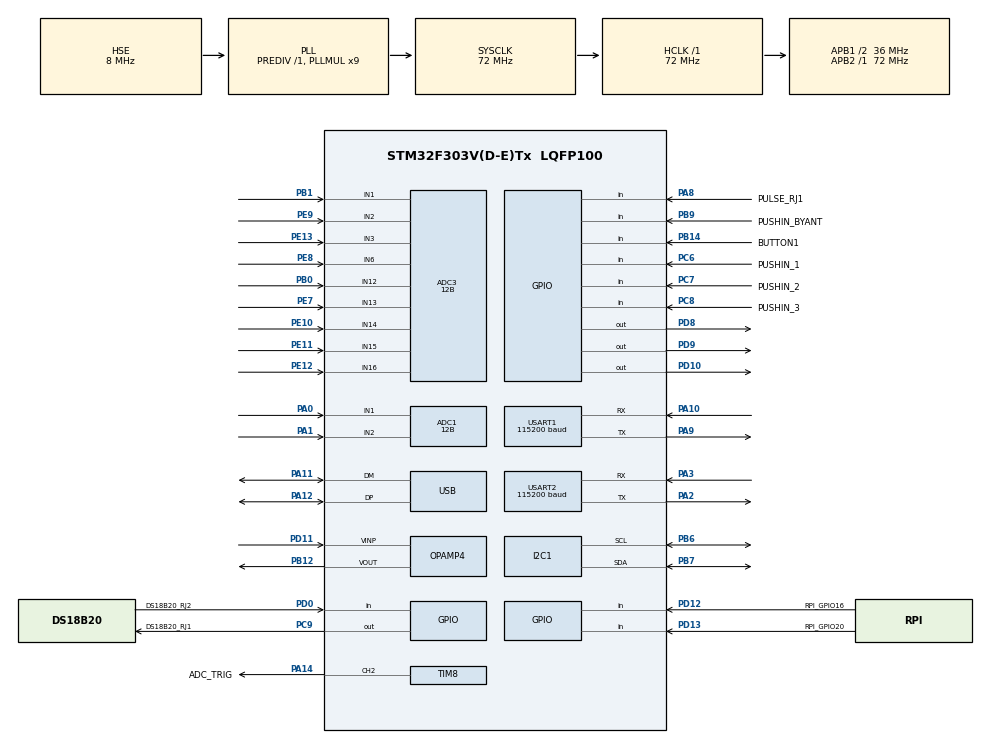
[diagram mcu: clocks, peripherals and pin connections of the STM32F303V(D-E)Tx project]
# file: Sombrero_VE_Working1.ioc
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ADC1.Channel-0\#ChannelRegularConversion=ADC_CHANNEL_1
ADC1.ClockPrescaler=ADC_CLOCK_SYNC_PCLK_DIV4
ADC1.ContinuousConvMode=ENABLE
ADC1.DMAContinuousRequests=ENABLE
ADC1.DataAlign=ADC_DATAALIGN_RIGHT
ADC1.DiscontinuousConvMode=DISABLE
ADC1.EOCSelection=ADC_EOC_SEQ_CONV
ADC1.EnableAnalogWatchDog1=false
ADC1.EnableAnalogWatchDog2=false
ADC1.EnableAnalogWatchDog3=false
ADC1.EnableInjectedConversion=DISABLE
ADC1.EnableRegularConversion=ENABLE
ADC1.ExternalTrigConv=ADC_EXTERNALTRIGCONV_T8_TRGO2
ADC1.ExternalTrigConvEdge=ADC_EXTERNALTRIGCONVEDGE_FALLING
ADC1.LowPowerAutoWait=DISABLE
ADC1.NbrOfConversion=1
ADC1.NbrOfConversionFlag=1
ADC1.Offset-0\#ChannelRegularConversion=0
ADC1.OffsetNumber-0\#ChannelRegularConversion=ADC_OFFSET_NONE
ADC1.Overrun=ADC_OVR_DATA_OVERWRITTEN
ADC1.Rank-0\#ChannelRegularConversion=1
ADC1.Resolution=ADC_RESOLUTION_12B
ADC1.SamplingTime-0\#ChannelRegularConversion=ADC_SAMPLETIME_601CYCLES_5
ADC1.ScanConvMode=ADC_SCAN_DISABLE
ADC1.master=1
ADC3.Channel-0\#ChannelRegularConversion=ADC_CHANNEL_3
ADC3.Channel-1\#ChannelRegularConversion=ADC_CHANNEL_16
ADC3.Channel-2\#ChannelRegularConversion=ADC_CHANNEL_15
ADC3.Channel-3\#ChannelRegularConversion=ADC_CHANNEL_14
ADC3.Channel-4\#ChannelRegularConversion=ADC_CHANNEL_2
ADC3.Channel-5\#ChannelRegularConversion=ADC_CHANNEL_6
ADC3.Channel-6\#ChannelRegularConversion=ADC_CHANNEL_13
ADC3.Channel-7\#ChannelRegularConversion=ADC_CHANNEL_1
ADC3.Channel-8\#ChannelRegularConversion=ADC_CHANNEL_12
ADC3.ClockPrescaler=ADC_CLOCK_SYNC_PCLK_DIV4
ADC3.ContinuousConvMode=ENABLE
ADC3.DMAContinuousRequests=ENABLE
ADC3.DataAlign=ADC_DATAALIGN_RIGHT
ADC3.DiscontinuousConvMode=DISABLE
ADC3.EOCSelection=ADC_EOC_SEQ_CONV
ADC3.EnableAnalogWatchDog1=false
ADC3.EnableAnalogWatchDog2=false
ADC3.EnableAnalogWatchDog3=false
ADC3.EnableInjectedConversion=DISABLE
ADC3.EnableRegularConversion=ENABLE
ADC3.ExternalTrigConv=ADC_EXTERNALTRIGCONV_T8_TRGO2
ADC3.ExternalTrigConvEdge=ADC_EXTERNALTRIGCONVEDGE_FALLING
ADC3.LowPowerAutoWait=DISABLE
ADC3.NbrOfConversion=9
ADC3.NbrOfConversionFlag=1
ADC3.Offset-0\#ChannelRegularConversion=0
ADC3.Offset-1\#ChannelRegularConversion=0
ADC3.Offset-2\#ChannelRegularConversion=0
ADC3.Offset-3\#ChannelRegularConversion=0
ADC3.Offset-4\#ChannelRegularConversion=0
ADC3.Offset-5\#ChannelRegularConversion=0
ADC3.Offset-6\#ChannelRegularConversion=0
ADC3.Offset-7\#ChannelRegularConversion=0
ADC3.Offset-8\#ChannelRegularConversion=0
ADC3.OffsetNumber-0\#ChannelRegularConversion=ADC_OFFSET_NONE
ADC3.OffsetNumber-1\#ChannelRegularConversion=ADC_OFFSET_NONE
ADC3.OffsetNumber-2\#ChannelRegularConversion=ADC_OFFSET_NONE
ADC3.OffsetNumber-3\#ChannelRegularConversion=ADC_OFFSET_NONE
ADC3.OffsetNumber-4\#ChannelRegularConversion=ADC_OFFSET_NONE
ADC3.OffsetNumber-5\#ChannelRegularConversion=ADC_OFFSET_NONE
ADC3.OffsetNumber-6\#ChannelRegularConversion=ADC_OFFSET_NONE
ADC3.OffsetNumber-7\#ChannelRegularConversion=ADC_OFFSET_NONE
ADC3.OffsetNumber-8\#ChannelRegularConversion=ADC_OFFSET_NONE
ADC3.Overrun=ADC_OVR_DATA_OVERWRITTEN
ADC3.Rank-0\#ChannelRegularConversion=1
ADC3.Rank-1\#ChannelRegularConversion=2
ADC3.Rank-2\#ChannelRegularConversion=3
ADC3.Rank-3\#ChannelRegularConversion=4
ADC3.Rank-4\#ChannelRegularConversion=5
ADC3.Rank-5\#ChannelRegularConversion=6
ADC3.Rank-6\#ChannelRegularConversion=7
ADC3.Rank-7\#ChannelRegularConversion=8
ADC3.Rank-8\#ChannelRegularConversion=9
ADC3.Resolution=ADC_RESOLUTION_12B
ADC3.SamplingTime-0\#ChannelRegularConversion=ADC_SAMPLETIME_601CYCLES_5
ADC3.SamplingTime-1\#ChannelRegularConversion=ADC_SAMPLETIME_601CYCLES_5
ADC3.SamplingTime-2\#ChannelRegularConversion=ADC_SAMPLETIME_601CYCLES_5
ADC3.SamplingTime-3\#ChannelRegularConversion=ADC_SAMPLETIME_601CYCLES_5
ADC3.SamplingTime-4\#ChannelRegularConversion=ADC_SAMPLETIME_601CYCLES_5
ADC3.SamplingTime-5\#ChannelRegularConversion=ADC_SAMPLETIME_601CYCLES_5
ADC3.SamplingTime-6\#ChannelRegularConversion=ADC_SAMPLETIME_601CYCLES_5
ADC3.SamplingTime-7\#ChannelRegularConversion=ADC_SAMPLETIME_601CYCLES_5
ADC3.SamplingTime-8\#ChannelRegularConversion=ADC_SAMPLETIME_601CYCLES_5
ADC3.ScanConvMode=ADC_SCAN_ENABLE
ADC3.master=1
Dma.ADC1.3.Direction=DMA_PERIPH_TO_MEMORY
Dma.ADC1.3.Instance=DMA1_Channel1
Dma.ADC1.3.MemDataAlignment=DMA_MDATAALIGN_HALFWORD
Dma.ADC1.3.MemInc=DMA_MINC_ENABLE
Dma.ADC1.3.Mode=DMA_CIRCULAR
Dma.ADC1.3.PeriphDataAlignment=DMA_PDATAALIGN_HALFWORD
Dma.ADC1.3.PeriphInc=DMA_PINC_DISABLE
Dma.ADC1.3.Priority=DMA_PRIORITY_HIGH
Dma.ADC3.2.Direction=DMA_PERIPH_TO_MEMORY
Dma.ADC3.2.Instance=DMA2_Channel5
Dma.ADC3.2.MemDataAlignment=DMA_MDATAALIGN_HALFWORD
Dma.ADC3.2.MemInc=DMA_MINC_ENABLE
Dma.ADC3.2.Mode=DMA_CIRCULAR
Dma.ADC3.2.PeriphDataAlignment=DMA_PDATAALIGN_HALFWORD
Dma.ADC3.2.PeriphInc=DMA_PINC_DISABLE
Dma.ADC3.2.Priority=DMA_PRIORITY_HIGH
Dma.Request0=USART2_RX
Dma.Request1=USART2_TX
Dma.Request2=ADC3
Dma.Request3=ADC1
Dma.Request4=USART1_RX
Dma.Request5=USART1_TX
Dma.USART1_RX.4.Direction=DMA_PERIPH_TO_MEMORY
Dma.USART1_RX.4.Instance=DMA1_Channel5
Dma.USART1_RX.4.MemDataAlignment=DMA_MDATAALIGN_BYTE
Dma.USART1_RX.4.MemInc=DMA_MINC_ENABLE
Dma.USART1_RX.4.Mode=DMA_NORMAL
Dma.USART1_RX.4.PeriphDataAlignment=DMA_PDATAALIGN_BYTE
Dma.USART1_RX.4.PeriphInc=DMA_PINC_DISABLE
Dma.USART1_RX.4.Priority=DMA_PRIORITY_LOW
Dma.USART1_TX.5.Direction=DMA_MEMORY_TO_PERIPH
Dma.USART1_TX.5.Instance=DMA1_Channel4
Dma.USART1_TX.5.MemDataAlignment=DMA_MDATAALIGN_BYTE
Dma.USART1_TX.5.MemInc=DMA_MINC_ENABLE
Dma.USART1_TX.5.Mode=DMA_NORMAL
Dma.USART1_TX.5.PeriphDataAlignment=DMA_PDATAALIGN_BYTE
Dma.USART1_TX.5.PeriphInc=DMA_PINC_DISABLE
Dma.USART1_TX.5.Priority=DMA_PRIORITY_LOW
Dma.USART2_RX.0.Direction=DMA_PERIPH_TO_MEMORY
Dma.USART2_RX.0.Instance=DMA1_Channel6
Dma.USART2_RX.0.MemDataAlignment=DMA_MDATAALIGN_BYTE
Dma.USART2_RX.0.MemInc=DMA_MINC_ENABLE
Dma.USART2_RX.0.Mode=DMA_NORMAL
Dma.USART2_RX.0.PeriphDataAlignment=DMA_PDATAALIGN_BYTE
Dma.USART2_RX.0.PeriphInc=DMA_PINC_DISABLE
Dma.USART2_RX.0.Priority=DMA_PRIORITY_LOW
Dma.USART2_TX.1.Direction=DMA_MEMORY_TO_PERIPH
Dma.USART2_TX.1.Instance=DMA1_Channel7
Dma.USART2_TX.1.MemDataAlignment=DMA_MDATAALIGN_BYTE
Dma.USART2_TX.1.MemInc=DMA_MINC_ENABLE
Dma.USART2_TX.1.Mode=DMA_NORMAL
Dma.USART2_TX.1.PeriphDataAlignment=DMA_PDATAALIGN_BYTE
Dma.USART2_TX.1.PeriphInc=DMA_PINC_DISABLE
Dma.USART2_TX.1.Priority=DMA_PRIORITY_LOW
Mcu.Family=STM32F3
Mcu.Name=STM32F303V(D-E)Tx
Mcu.Package=LQFP100
NVIC.ADC1_2_IRQn=true\:0\:0\:false\:false\:true\:true
NVIC.ADC3_IRQn=true\:0\:0\:false\:false\:true\:true
NVIC.DMA1_Channel1_IRQn=true\:0\:0\:false\:false\:true\:false
NVIC.DMA1_Channel4_IRQn=true\:0\:0\:false\:false\:true\:false
NVIC.DMA1_Channel5_IRQn=true\:0\:0\:false\:false\:true\:false
NVIC.DMA1_Channel6_IRQn=true\:0\:0\:false\:false\:true\:false
NVIC.DMA1_Channel7_IRQn=true\:0\:0\:false\:false\:true\:false
NVIC.DMA2_Channel5_IRQn=true\:0\:0\:false\:false\:true\:false
NVIC.PriorityGroup=NVIC_PRIORITYGROUP_4
PA0.Mode=IN1-Single-Ended
PA0.Signal=ADC1_IN1
PA1.Mode=IN2-Single-Ended
PA1.Signal=ADC1_IN2
PA10.Mode=Asynchronous
PA10.Signal=USART1_RX
PA11.Mode=Device
PA11.Signal=USB_DM
PA12.Mode=Device
PA12.Signal=USB_DP
PA14.GPIO_Label=ADC_TRIG
PA14.GPIO_PuPd=GPIO_NOPULL
PA14.Signal=S_TIM8_CH2
PA2.Mode=Asynchronous
PA2.Signal=USART2_TX
PA3.Mode=Asynchronous
PA3.Signal=USART2_RX
PA8.GPIO_Label=PULSE_RJ1
PA8.Signal=GPIO_Input
PA9.Mode=Asynchronous
PA9.Signal=USART1_TX
PB0.Mode=IN12-Single-Ended
PB0.Signal=ADC3_IN12
PB1.Mode=IN1-Single-Ended
PB1.Signal=ADC3_IN1
PB12.Mode=Follower
PB12.Signal=OPAMP4_VOUT
PB14.GPIO_Label=BUTTON1
PB14.Signal=GPIO_Input
PB6.Mode=I2C
PB6.Signal=I2C1_SCL
PB7.Mode=I2C
PB7.Signal=I2C1_SDA
PB9.GPIO_Label=PUSHIN_BYANT
PB9.Signal=GPIO_Input
PC14-OSC32_IN.Mode=LSE-External-Oscillator
PC14-OSC32_IN.Signal=RCC_OSC32_IN
PC15-OSC32_OUT.Mode=LSE-External-Oscillator
PC15-OSC32_OUT.Signal=RCC_OSC32_OUT
PC6.GPIO_Label=PUSHIN_1
PC6.Signal=GPIO_Input
PC7.GPIO_Label=PUSHIN_2
PC7.Signal=GPIO_Input
PC8.GPIO_Label=PUSHIN_3
PC8.Signal=GPIO_Input
PC9.GPIO_Label=DS18B20_RJ1
PC9.Signal=GPIO_Output
PD0.GPIO_Label=DS18B20_RJ2
PD0.Signal=GPIO_Input
PD10.Signal=GPIO_Output
PD11.Mode=Follower
PD11.Signal=OPAMP4_VINP
PD12.GPIO_Label=RPI_GPIO16
PD12.Signal=GPIO_Input
PD13.GPIO_Label=RPI_GPIO20
PD13.Signal=GPIO_Input
PD8.Signal=GPIO_Output
PD9.Signal=GPIO_Output
PE10.Mode=IN14-Single-Ended
PE10.Signal=ADC3_IN14
PE11.Mode=IN15-Single-Ended
PE11.Signal=ADC3_IN15
PE12.Mode=IN16-Single-Ended
PE12.Signal=ADC3_IN16
PE13.Mode=IN3-Single-Ended
PE13.Signal=ADC3_IN3
PE7.Mode=IN13-Single-Ended
PE7.Signal=ADC3_IN13
PE8.Signal=ADCx_IN6P
PE9.Mode=IN2-Single-Ended
PE9.Signal=ADC3_IN2
PF0-OSC_IN.Mode=HSE-External-Oscillator
PF0-OSC_IN.Signal=RCC_OSC_IN
PF1-OSC_OUT.Mode=HSE-External-Oscillator
PF1-OSC_OUT.Signal=RCC_OSC_OUT
ProjectManager.HeapSize=0x200
ProjectManager.StackSize=0x400
ProjectManager.TargetToolchain=Makefile
RCC.AHBFreq_Value=72000000
RCC.APB1CLKDivider=RCC_HCLK_DIV2
RCC.APB1Freq_Value=36000000
RCC.APB1TimFreq_Value=72000000
RCC.APB2Freq_Value=72000000
RCC.APB2TimFreq_Value=72000000
RCC.CortexFreq_Value=72000000
RCC.HCLKFreq_Value=72000000
RCC.HSE_VALUE=8000000
RCC.HSI_VALUE=8000000
RCC.PLLMUL=RCC_PLL_MUL9
RCC.PRESCALERUSB=RCC_USBCLKSOURCE_PLL_DIV1_5
RCC.SYSCLKFreq_VALUE=72000000
RCC.SYSCLKSourceVirtual=RCC_SYSCLKSOURCE_PLLCLK
RCC.USBFreq_Value=48000000
RCC.Usart2ClockSelection=RCC_USART2CLKSOURCE_SYSCLK
SH.ADCx_IN6P.0=ADC3_IN6,IN6-Single-Ended
SH.S_TIM8_CH2.0=TIM8_CH2,PWM Generation2 CH2
TIM8.Channel-PWM\ Generation2\ CH2=TIM_CHANNEL_2
TIM8.OCFastMode_PWM-PWM\ Generation2\ CH2=TIM_OCFAST_DISABLE
TIM8.Period=9999
TIM8.Prescaler=71
TIM8.TIM_MasterOutputTrigger2=TIM_TRGO2_OC2REF
USART1.BaudRate=115200
USART1.DMADisableonRxErrorParam=ADVFEATURE_DMA_ENABLEONRXERROR
USART1.VirtualMode-Asynchronous=VM_ASYNC
USART2.BaudRate=115200
USART2.VirtualMode-Asynchronous=VM_ASYNC
board=custom

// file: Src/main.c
/**
  ******************************************************************************
  * @file           : main.c
  * @brief          : Main program body
  ******************************************************************************
  ** This notice applies to any and all portions of this file
  * that are not between comment pairs USER CODE BEGIN and
  * USER CODE END. Other portions of this file, whether
  * inserted by the user or by software development tools
  * are owned by their respective copyright owners.
  *
  * COPYRIGHT(c) 2020 STMicroelectronics
  *
  * Redistribution and use in source and binary forms, with or without modification,
  * are permitted provided that the following conditions are met:
  *   1. Redistributions of source code must retain the above copyright notice,
  *      this list of conditions and the following disclaimer.
  *   2. Redistributions in binary form must reproduce the above copyright notice,
  *      this list of conditions and the following disclaimer in the documentation
  *      and/or other materials provided with the distribution.
  *   3. Neither the name of STMicroelectronics nor the names of its contributors
  *      may be used to endorse or promote products derived from this software
  *      without specific prior written permission.
  *
  * THIS SOFTWARE IS PROVIDED BY THE COPYRIGHT HOLDERS AND CONTRIBUTORS "AS IS"
  * AND ANY EXPRESS OR IMPLIED WARRANTIES, INCLUDING, BUT NOT LIMITED TO, THE
  * IMPLIED WARRANTIES OF MERCHANTABILITY AND FITNESS FOR A PARTICULAR PURPOSE ARE
  * DISCLAIMED. IN NO EVENT SHALL THE COPYRIGHT HOLDER OR CONTRIBUTORS BE LIABLE
  * FOR ANY DIRECT, INDIRECT, INCIDENTAL, SPECIAL, EXEMPLARY, OR CONSEQUENTIAL
  * DAMAGES (INCLUDING, BUT NOT LIMITED TO, PROCUREMENT OF SUBSTITUTE GOODS OR
  * SERVICES; LOSS OF USE, DATA, OR PROFITS; OR BUSINESS INTERRUPTION) HOWEVER
  * CAUSED AND ON ANY THEORY OF LIABILITY, WHETHER IN CONTRACT, STRICT LIABILITY,
  * OR TORT (INCLUDING NEGLIGENCE OR OTHERWISE) ARISING IN ANY WAY OUT OF THE USE
  * OF THIS SOFTWARE, EVEN IF ADVISED OF THE POSSIBILITY OF SUCH DAMAGE.
  *
  ******************************************************************************
  */
#include "main.h"
#include "stm32f3xx_hal.h"
#include "adc.h"
#include "dma.h"
#include "i2c.h"
#include "opamp.h"
#include "tim.h"
#include "usart.h"
#include "usb.h"
#include "gpio.h"

/* USER CODE BEGIN Includes */
#include <math.h>
#include <string.h>
#include <stdbool.h>
/* USER CODE END Includes */

/* USER CODE BEGIN PV */
/* Private variables ---------------------------------------------------------*/

//#define true 1
//#define false 0
#define MID_ADC_READING 2048

// Serial output buffer
extern char log_buffer[150];

// Flag
bool readings_ready = false;

// Calibration
const float VOLTS_PER_DIV = (3.3 / 4096.0);
float VCAL = 268.97;
float ICAL = 90.9;

// ISR accumulators
typedef struct channel_
{
  int64_t sum_P;
  uint64_t sum_V_sq;
  uint64_t sum_I_sq;
  int32_t sum_V;
  int32_t sum_I;
  //uint32_t sum_offset;
  uint32_t count;

  uint32_t positive_V;
  uint32_t last_positive_V;
  uint32_t cycles;
} channel_t;

uint32_t pulseCount = 0;

//#define CTn 9 // number of CT channels
static channel_t channels[CTn];
static channel_t channels_copy[CTn];

/* USER CODE END PV */

void SystemClock_Config(void);

/* USER CODE BEGIN PFP */
/* Private function prototypes -----------------------------------------------*/

/* USER CODE END PFP */

/* USER CODE BEGIN 0 */
void process_frame(uint16_t offset)
{
  int32_t sample_V, sample_I, signed_V, signed_I;
  //int32_t offset_local;

  HAL_GPIO_WritePin(GPIOD, GPIO_PIN_8, GPIO_PIN_SET);
  for (int i = 0; i < adc_buff_half_size; i += CTn)
  {
    // Cycle through channels
    for (int ch = 0; ch < CTn; ch++)
    {
      channel_t *channel = &channels[ch];

      // ----------------------------------------
      // Voltage
      sample_V = adc1_dma_buff[offset + i + ch];
      signed_V = sample_V - MID_ADC_READING;
      channel->sum_V += signed_V;
      channel->sum_V_sq += signed_V * signed_V;
      // ----------------------------------------
      // Current
      sample_I = adc3_dma_buff[offset + i + ch];
      signed_I = sample_I - MID_ADC_READING;
      channel->sum_I += signed_I;
      channel->sum_I_sq += signed_I * signed_I;
      // ----------------------------------------
      // Power
      channel->sum_P += signed_V * signed_I;

      channel->count++;

      // Zero crossing detection
      channel->last_positive_V = channel->positive_V;
      if (signed_V > 0)
        channel->positive_V = true;
      else
        channel->positive_V = false;
      if (!channel->last_positive_V && channel->positive_V)
        channel->cycles++;

      // 125 cycles or 2.5 seconds
      if (channel->cycles == 125)
      {
        channel->cycles = 0;
        channel_t *chn = &channels_copy[ch];
        // Copy accumulators for use in main loop
        memcpy((void *)chn, (void *)channel, sizeof(channel_t));
        // Reset accumulators to zero ready for next set of measurements
        memset((void *)channel, 0, sizeof(channel_t));

        if (ch == (CTn - 1))
        {
          readings_ready = true;
        }
      }
    }
  }
  HAL_GPIO_WritePin(GPIOD, GPIO_PIN_8, GPIO_PIN_RESET);
}

/* USER CODE END 0 */

int main(void)
{
  /* USER CODE BEGIN 1 */
  float V_RATIO = VCAL * VOLTS_PER_DIV;
  float I_RATIO = ICAL * VOLTS_PER_DIV;
  /* USER CODE END 1 */

  /* MCU Configuration----------------------------------------------------------*/

  /* Reset of all peripherals, Initializes the Flash interface and the Systick. */
  HAL_Init();

  /* Configure the system clock */
  SystemClock_Config();

  /* Initialize all configured peripherals */
  MX_GPIO_Init();
  MX_DMA_Init();
  MX_USART2_UART_Init();
  MX_OPAMP4_Init();
  MX_USART1_UART_Init();
  MX_USB_PCD_Init();
  MX_ADC3_Init();
  MX_TIM8_Init();
  MX_I2C1_Init();
  MX_ADC1_Init();
  /* USER CODE BEGIN 2 */
  debug_printf("start, conn. VT\r\n");

  HAL_ADCEx_Calibration_Start(&hadc1, ADC_SINGLE_ENDED);
  HAL_ADCEx_Calibration_Start(&hadc3, ADC_SINGLE_ENDED);

  HAL_OPAMP_Start(&hopamp4);

  start_ADCs();
  /* USER CODE END 2 */

  /* Infinite loop */
  /* USER CODE BEGIN WHILE */
  while (1)
  {
    if (readings_ready)
    {
      HAL_GPIO_WritePin(GPIOD, GPIO_PIN_9, GPIO_PIN_SET);
      readings_ready = false;
      //process_ds18b20s();

      for (int ch = 0; ch < CTn; ch++)
      {
        channel_t *chn = &channels_copy[ch];

        float Vmean = (float)chn->sum_V / (float)chn->count;
        float Imean = (float)chn->sum_I / (float)chn->count;

        float f32sum_V_sq_avg = (float)chn->sum_V_sq / (float)chn->count;
        f32sum_V_sq_avg -= (Vmean * Vmean); // offset removal

        float f32sum_I_sq_avg = (float)chn->sum_I_sq / (float)chn->count;
        f32sum_I_sq_avg -= (Imean * Imean); // offset removal

        if (f32sum_V_sq_avg < 0) // if offset removal cause a negative number,
          f32sum_V_sq_avg = 0;   // make it 0 to avoid a nan at sqrt.
        if (f32sum_I_sq_avg < 0)
          f32sum_I_sq_avg = 0;

        float Vrms = V_RATIO * sqrtf(f32sum_V_sq_avg);
        float Irms = I_RATIO * sqrtf(f32sum_I_sq_avg);

        float f32_sum_P_avg = (float)chn->sum_P / (float)chn->count;
        float mean_P = f32_sum_P_avg - (Vmean * Imean); // offset removal
        float realPower = V_RATIO * I_RATIO * mean_P;

        float apparentPower = Vrms * Irms;

        float powerFactor;
        // calculate PF, preventing dividing by zero error.
        if (apparentPower != 0)
        {
          powerFactor = realPower / apparentPower;
        }
        else
          powerFactor = 0;

        int _ch = ch + 1;
        //sprintf(log_buffer, "V%d:%.2f,I%d:%.3f,RP%d:%.1f,AP%d:%.1f,PF%d:%.3f,Off%d:%.2f,C%d:%ld,", _ch, Vrms, _ch, Irms, _ch, realPower, _ch, apparentPower, _ch, powerFactor, _ch, offset_avg, _ch, chn->count);
        sprintf(log_buffer, "V%d:%.2f,I%d:%.3f,RP%d:%.1f,AP%d:%.1f,PF%d:%.3f,C%d:%ld,", _ch, Vrms, _ch, Irms, _ch, realPower, _ch, apparentPower, _ch, powerFactor, _ch, chn->count);
        debug_printf(log_buffer);

        uint32_t current_millis = HAL_GetTick();
        sprintf(log_buffer, "millis:%ld\r\n", current_millis);
        debug_printf(log_buffer);
      }
      sprintf(log_buffer, "PC:%ld\r\n", pulseCount);
      debug_printf(log_buffer);
      HAL_GPIO_WritePin(GPIOD, GPIO_PIN_9, GPIO_PIN_RESET);
    }
    /*
      HAL_GPIO_TogglePin(GPIOD, GPIO_PIN_8);
      HAL_GPIO_TogglePin(GPIOD, GPIO_PIN_9);
      HAL_GPIO_TogglePin(GPIOD, GPIO_PIN_10);
      sprintf(log_buffer, "millis:%d\r\n", HAL_GetTick());
      debug_printf(log_buffer);
      debug_printf("test\r\n");
      HAL_Delay(200);
      */
  /* USER CODE END WHILE */

  }

}

void SystemClock_Config(void)
{

  RCC_OscInitTypeDef RCC_OscInitStruct;
  RCC_ClkInitTypeDef RCC_ClkInitStruct;
  RCC_PeriphCLKInitTypeDef PeriphClkInit;

    /**Initializes the CPU, AHB and APB busses clocks
    */
  RCC_OscInitStruct.OscillatorType = RCC_OSCILLATORTYPE_HSI|RCC_OSCILLATORTYPE_HSE;
  RCC_OscInitStruct.HSEState = RCC_HSE_ON;
  RCC_OscInitStruct.HSIState = RCC_HSI_ON;
  RCC_OscInitStruct.HSICalibrationValue = 16;
  RCC_OscInitStruct.PLL.PLLState = RCC_PLL_ON;
  RCC_OscInitStruct.PLL.PLLSource = RCC_PLLSOURCE_HSE;
  RCC_OscInitStruct.PLL.PLLMUL = RCC_PLL_MUL9;
  RCC_OscInitStruct.PLL.PREDIV = RCC_PREDIV_DIV1;
  if (HAL_RCC_OscConfig(&RCC_OscInitStruct) != HAL_OK)
  {
    _Error_Handler(__FILE__, __LINE__);
  }

    /**Initializes the CPU, AHB and APB busses clocks
    */
  RCC_ClkInitStruct.ClockType = RCC_CLOCKTYPE_HCLK|RCC_CLOCKTYPE_SYSCLK
                              |RCC_CLOCKTYPE_PCLK1|RCC_CLOCKTYPE_PCLK2;
  RCC_ClkInitStruct.SYSCLKSource = RCC_SYSCLKSOURCE_PLLCLK;
  RCC_ClkInitStruct.AHBCLKDivider = RCC_SYSCLK_DIV1;
  RCC_ClkInitStruct.APB1CLKDivider = RCC_HCLK_DIV2;
  RCC_ClkInitStruct.APB2CLKDivider = RCC_HCLK_DIV1;

  if (HAL_RCC_ClockConfig(&RCC_ClkInitStruct, FLASH_LATENCY_2) != HAL_OK)
  {
    _Error_Handler(__FILE__, __LINE__);
  }

  PeriphClkInit.PeriphClockSelection = RCC_PERIPHCLK_USB|RCC_PERIPHCLK_USART1
                              |RCC_PERIPHCLK_USART2|RCC_PERIPHCLK_I2C1
                              |RCC_PERIPHCLK_TIM8;
  PeriphClkInit.Usart1ClockSelection = RCC_USART1CLKSOURCE_PCLK2;
  PeriphClkInit.Usart2ClockSelection = RCC_USART2CLKSOURCE_SYSCLK;
  PeriphClkInit.I2c1ClockSelection = RCC_I2C1CLKSOURCE_HSI;
  PeriphClkInit.USBClockSelection = RCC_USBCLKSOURCE_PLL_DIV1_5;
  PeriphClkInit.Tim8ClockSelection = RCC_TIM8CLK_HCLK;
  if (HAL_RCCEx_PeriphCLKConfig(&PeriphClkInit) != HAL_OK)
  {
    _Error_Handler(__FILE__, __LINE__);
  }

    /**Configure the Systick interrupt time
    */
  HAL_SYSTICK_Config(HAL_RCC_GetHCLKFreq()/1000);

    /**Configure the Systick
    */
  HAL_SYSTICK_CLKSourceConfig(SYSTICK_CLKSOURCE_HCLK);

  /* SysTick_IRQn interrupt configuration */
  HAL_NVIC_SetPriority(SysTick_IRQn, 0, 0);
}

void _Error_Handler(char *file, int line)
{
  while (1)
  {
  }
}

/************************ (C) COPYRIGHT STMicroelectronics *****END OF FILE****/
